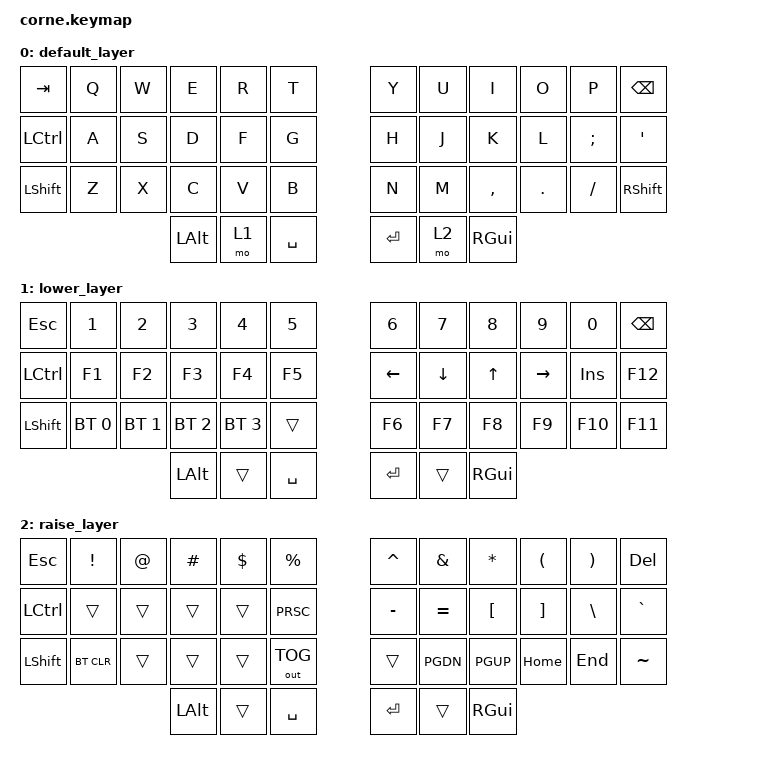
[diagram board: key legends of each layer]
/*
 * Copyright (c) 2020 The ZMK Contributors
 *
 * SPDX-License-Identifier: MIT
 */

#include <behaviors.dtsi>
#include <dt-bindings/zmk/keys.h>
#include <dt-bindings/zmk/bt.h>
#include <dt-bindings/zmk/outputs.h>
#include <dt-bindings/zmk/ext_power.h>
#include <dt-bindings/zmk/rgb.h>

/ {
        keymap {
                compatible = "zmk,keymap";

                default_layer {
// -----------------------------------------------------------------------------------------
// |  TAB |  Q  |  W  |  E  |  R  |  T  |   |  Y  |  U   |  I  |  O  |  P  | BKSP |
// | CTRL |  A  |  S  |  D  |  F  |  G  |   |  H  |  J   |  K  |  L  | :/; | "/'  |
// | SHFT |  Z  |  X  |  C  |  V  |  B  |   |  N  |  M   | </, | >/. | ?// | SHFT |
//                    | ALT | LWR | SPC |   | ENT | RSE  | GUI |
                        bindings = <
   &kp TAB   &kp Q &kp W &kp E &kp R &kp T   &kp Y &kp U  &kp I     &kp O   &kp P    &kp BSPC
   &kp LCTRL &kp A &kp S &kp D &kp F &kp G   &kp H &kp J  &kp K     &kp L   &kp SEMI &kp SQT
   &kp LSHFT &kp Z &kp X &kp C &kp V &kp B   &kp N &kp M  &kp COMMA &kp DOT &kp FSLH &kp RSHFT
                  &kp LALT &mo 1 &kp SPACE   &kp RET &mo 2 &kp RGUI
                        >;
                };
                lower_layer {
// -----------------------------------------------------------------------------------------
// |  ESC |  1  |  2  |  3  |  4  |  5  |   |  6  |  7  |  8  |  9  |  0  | BKSP |
// | CTRL | F1  | F2  | F3  | F4  | F5  |   | LFT | DWN |  UP | RGT | INS | F12  |
// | SHFT | BT1 | BT2 | BT3 | BT4 |     |   | F6  | F7  | F8  | F9  | F10 | F11  |
//                    | ALT |     | SPC |   | ENT |     | GUI |
                        bindings = <
   &kp ESC    &kp N1       &kp N2       &kp N3          &kp N4         &kp N5     &kp N6   &kp N7   &kp N8   &kp N9     &kp N0  &kp BSPC
   &kp LCTRL  &kp F1       &kp F2       &kp F3          &kp F4         &kp F5     &kp LEFT &kp DOWN &kp UP   &kp RIGHT  &kp INS &kp F12
   &kp LSHFT  &bt BT_SEL 0 &bt BT_SEL 1 &bt BT_SEL 2    &bt BT_SEL 3   &trans     &kp F6   &kp F7   &kp F8   &kp F9     &kp F10 &kp F11
                                        &kp LALT     &trans       &kp SPACE          &kp RET &trans &kp RGUI
                        >;
                };

                raise_layer {
// -----------------------------------------------------------------------------------------
// |  ESC |  !  |  @  |  #  |  $  |  %  |   |  ^  |  &  |  *  |  (  |  )  | DEL  |
// | CTRL |     |     |     |     | PRSC|   | _/- | +/= | {/[ | }/] | |/\ |  `   |
// | SHFT |BTCLR|     |     |     |O_TOG|   |     | PD  | PU  | HOME| END |  ~   |
//                    | ALT |     | SPC |   | ENT |     | GUI |
                        bindings = <
   &kp  ESC  &kp EXCL      &kp AT   &kp HASH  &kp DLLR   &kp PRCNT     &kp CARET &kp AMPS  &kp ASTRK   &kp LPAR  &kp RPAR &kp DEL
   &kp LCTRL &trans        &trans   &trans    &trans     &kp PRSC      &kp MINUS &kp EQUAL &kp LBKT    &kp RBKT  &kp BSLH &kp GRAVE
   &kp LSHFT &bt BT_CLR    &trans   &trans    &trans     &out OUT_TOG  &trans    &kp PGDN  &kp PGUP    &kp HOME  &kp END  &kp TILDE
                                    &kp LALT &trans &kp SPACE   &kp RET &trans &kp RGUI
                        >;
                };
        };
};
